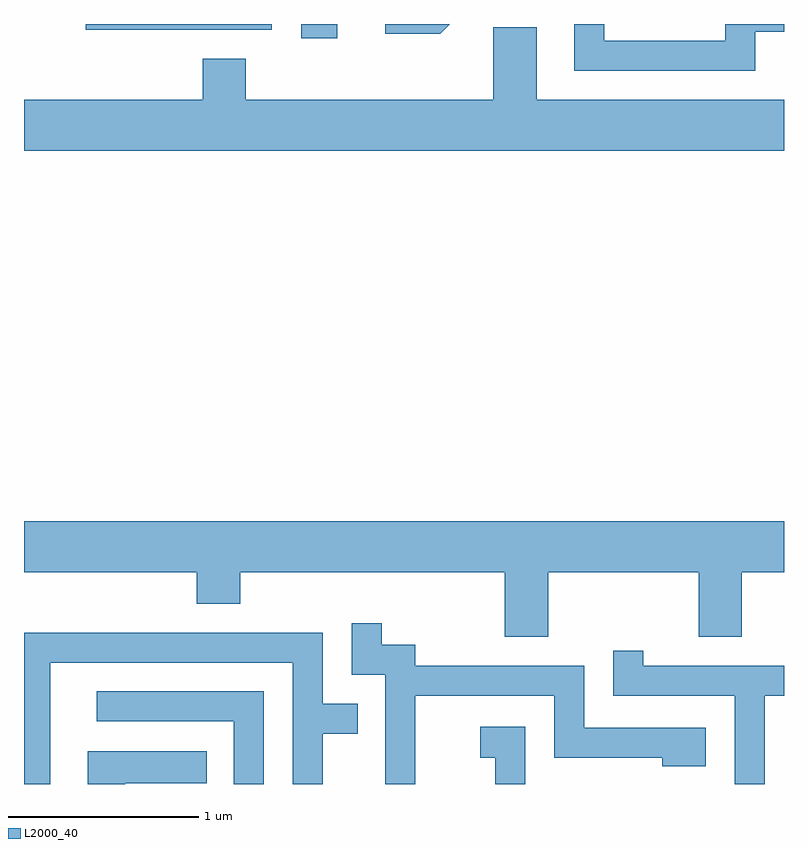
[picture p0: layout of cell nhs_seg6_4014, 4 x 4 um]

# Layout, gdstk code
import gdstk
lib = gdstk.Library(unit=1e-6, precision=1e-09)
def R(c, l, rs):  # rectangles x0, y0, x1, y1
    for r in rs: c.add(gdstk.rectangle(r[:2], r[2:], *l))
def P(c, l, *ps):  # polygons
    for p in ps: c.add(gdstk.Polygon(p, *l))
L2000_40 = (2000, 40)

nhs_seg6_4014 = lib.new_cell('nhs_seg6_4014')
R(nhs_seg6_4014, L2000_40, [(307.071,1646.086,307.259,1646.162), (305.936,1646.131,306.914,1646.162)])
P(nhs_seg6_4014, L2000_40, [(309.459,1646.121),(309.611,1646.121),(309.611,1646.162),(309.301,1646.162),(309.301,1646.074),(308.664,1646.074),(308.664,1646.162),(308.506,1646.162),(308.506,1645.916),(309.459,1645.916)],
  [(307.853,1646.162),(307.513,1646.162),(307.513,1646.111),(307.802,1646.111)],
  [(309.611,1645.764),(308.309,1645.764),(308.309,1646.144),(308.081,1646.144),(308.081,1645.764),(306.779,1645.764),(306.779,1645.979),(306.551,1645.979),(306.551,1645.764),(305.611,1645.764),(305.611,1645.496),(309.611,1645.496)],
  [(308.369,1643.276),(309.161,1643.276),(309.161,1642.936),(309.389,1642.936),(309.389,1643.276),(309.611,1643.276),(309.611,1643.544),(305.611,1643.544),(305.611,1643.276),(306.521,1643.276),(306.521,1643.111),(306.749,1643.111),(306.749,1643.276),(308.141,1643.276),(308.141,1642.936),(308.369,1642.936)],
  [(307.669,1642.626),(308.401,1642.626),(308.401,1642.301),(308.971,1642.301),(308.971,1642.256),(309.199,1642.256),(309.199,1642.459),(308.559,1642.459),(308.559,1642.784),(307.669,1642.784),(307.669,1642.894),(307.494,1642.894),(307.494,1643.008),(307.336,1643.008),(307.336,1642.736),(307.511,1642.736),(307.511,1642.162),(307.669,1642.162)],
  [(305.749,1642.801),(307.026,1642.801),(307.026,1642.162),(307.184,1642.162),(307.184,1642.426),(307.368,1642.426),(307.368,1642.584),(307.184,1642.584),(307.184,1642.959),(305.611,1642.959),(305.611,1642.162),(305.749,1642.162)],
  [(309.509,1642.626),(309.611,1642.626),(309.611,1642.784),(308.869,1642.784),(308.869,1642.863),(308.711,1642.863),(308.711,1642.626),(309.351,1642.626),(309.351,1642.162),(309.509,1642.162)],
  [(306.874,1642.649),(305.993,1642.649),(305.993,1642.491),(306.716,1642.491),(306.716,1642.162),(306.874,1642.162)],
  [(308.249,1642.464),(308.013,1642.464),(308.013,1642.301),(308.091,1642.301),(308.091,1642.162),(308.249,1642.162)],
  [(306.144,1642.166),(306.573,1642.166),(306.573,1642.334),(305.946,1642.334),(305.946,1642.162),(306.144,1642.162)])

lib.write_gds('nhs_seg6_4014.gds')
